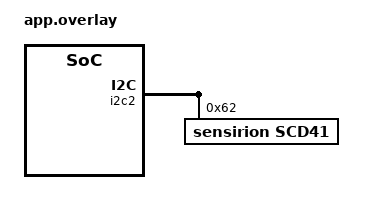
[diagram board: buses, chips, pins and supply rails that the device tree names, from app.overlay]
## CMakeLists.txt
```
# SPDX-License-Identifier: Apache-2.0

cmake_minimum_required(VERSION 3.20.0)
find_package(Zephyr REQUIRED HINTS $ENV{ZEPHYR_BASE})
project(scd41)

target_sources(app PRIVATE src/main_sensor_scd41.c)
```

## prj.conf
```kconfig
CONFIG_SENSOR=y
CONFIG_SENSOR_ASYNC_API=y
CONFIG_LOG=y
CONFIG_LOG_PRINTK=y
CONFIG_I2C=y
```

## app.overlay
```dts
&i2c2 {
	status = "okay";
	scd41@62 {
		compatible = "sensirion,scd41";
		reg = <0x62>;
		status = "okay";
		mode = <2>;
	};
};
```

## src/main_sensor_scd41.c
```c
/* Get temperature, pressure, and humidity data from a sensirion-scd41 sensor.
*
*/

#include <zephyr/kernel.h>
#include <zephyr/device.h>
#include <zephyr/devicetree.h>
#include <zephyr/drivers/sensor.h>
#include <zephyr/drivers/sensor_data_types.h>
#include <zephyr/rtio/rtio.h>
#include <zephyr/dsp/print_format.h>

const struct device *const dev = DEVICE_DT_GET_ANY(sensirion_scd41);


SENSOR_DT_READ_IODEV(iodev, DT_COMPAT_GET_ANY_STATUS_OKAY(sensirion_scd41),
		{SENSOR_CHAN_CO2, 0},
		{SENSOR_CHAN_HUMIDITY, 0},
		{SENSOR_CHAN_AMBIENT_TEMP, 0});

RTIO_DEFINE(ctx, 1, 1);

static const struct device *check_scd41_device(void)
{
	if (dev == NULL) {
		printk("\nError: no device found.\n");
		return NULL;
	}

	if (!device_is_ready(dev)) {
		printk("\nError: Device \"%s\" is not ready; ", dev->name);
		return NULL;
	}

	printk("Found device \"%s\", getting sensor data\n", dev->name);
	return dev;
}

int main(void)
{
	const struct device *dev = check_scd41_device();

	if (!dev) {
		return 0;
	}

	while (1) {
		uint8_t buf[128];

		int rc = sensor_read(&iodev, &ctx, buf, 128);

		if (rc != 0) {
			printk("%s: sensor_read() failed: %d\n", dev->name, rc);
			return rc;
		}

		const struct sensor_decoder_api *decoder;

		rc = sensor_get_decoder(dev, &decoder);

		if (rc != 0) {
			printk("%s: sensor_get_decode() failed: %d\n", dev->name, rc);
			return rc;
		}

		uint32_t co2_fit = 0;
		struct sensor_q31_data co2_data = {0};

		decoder->decode(buf,
			(struct sensor_chan_spec) {SENSOR_CHAN_CO2, 0},
			&co2_fit, 1, &co2_data);

		uint32_t hum_fit = 0;
		struct sensor_q31_data hum_data = {0};

		decoder->decode(buf,
				(struct sensor_chan_spec) {SENSOR_CHAN_HUMIDITY, 0},
				&hum_fit, 1, &hum_data);

		uint32_t temp_fit = 0;
		struct sensor_q31_data temp_data = {0};

		decoder->decode(buf,
				(struct sensor_chan_spec) {SENSOR_CHAN_AMBIENT_TEMP, 0},
				&temp_fit, 1, &temp_data);

		printk("co2: %s%d.%d; humidity: %s%d.%d; temp: %s%d.%d\n",
			PRIq_arg(co2_data.readings[0].density_ppm, 2, co2_data.shift),
			PRIq_arg(hum_data.readings[0].humidity, 2, hum_data.shift),
			PRIq_arg(temp_data.readings[0].temperature, 2, temp_data.shift));

		k_sleep(K_SECONDS(120));
	}
	return 0;
}
```
